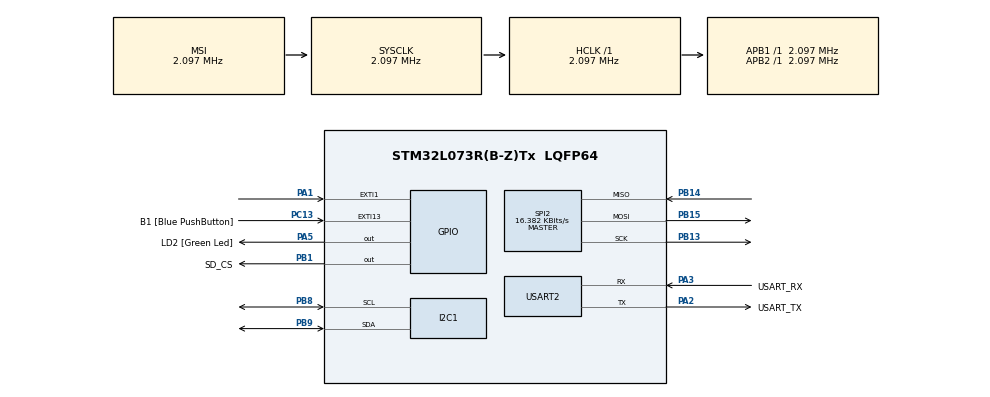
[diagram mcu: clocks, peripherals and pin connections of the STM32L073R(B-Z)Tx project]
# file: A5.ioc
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FREERTOS.Tasks01=defaultTask,0,128,StartDefaultTask,Default,NULL,Dynamic,NULL,NULL
FREERTOS.configTICK_RATE_HZ=1000
FREERTOS.configTOTAL_HEAP_SIZE=11000
I2C1.Timing=0x00000608
Mcu.Family=STM32L0
Mcu.Name=STM32L073R(B-Z)Tx
Mcu.Package=LQFP64
NVIC.EXTI0_1_IRQn=true\:3\:0\:false\:false\:true\:true\:true\:true\:true
PA1.GPIO_ModeDefaultEXTI=GPIO_MODE_IT_FALLING
PA1.GPIO_PuPd=GPIO_PULLUP
PA1.Signal=GPXTI1
PA13.GPIO_Label=TMS
PA13.Mode=Serial_Wire
PA13.Signal=SYS_SWDIO
PA14.GPIO_Label=TCK
PA14.Mode=Serial_Wire
PA14.Signal=SYS_SWCLK
PA2.GPIO_Label=USART_TX
PA2.Mode=Asynchronous
PA2.Signal=USART2_TX
PA3.GPIO_Label=USART_RX
PA3.Mode=Asynchronous
PA3.Signal=USART2_RX
PA5.GPIO_Label=LD2 [Green Led]
PA5.Signal=GPIO_Output
PB1.GPIO_Label=SD_CS
PB1.Signal=GPIO_Output
PB13.Mode=Full_Duplex_Master
PB13.Signal=SPI2_SCK
PB14.Mode=Full_Duplex_Master
PB14.Signal=SPI2_MISO
PB15.Mode=Full_Duplex_Master
PB15.Signal=SPI2_MOSI
PB8.Mode=I2C
PB8.Signal=I2C1_SCL
PB9.Mode=I2C
PB9.Signal=I2C1_SDA
PC13.GPIO_Label=B1 [Blue PushButton]
PC13.GPIO_ModeDefaultEXTI=GPIO_MODE_IT_FALLING
PC13.Signal=GPXTI13
PC14-OSC32_IN.Mode=LSE-External-Oscillator
PC14-OSC32_IN.Signal=RCC_OSC32_IN
PC15-OSC32_OUT.Mode=LSE-External-Oscillator
PC15-OSC32_OUT.Signal=RCC_OSC32_OUT
PH0-OSC_IN.GPIO_Label=MCO
PH0-OSC_IN.Mode=HSE-External-Clock-Source
PH0-OSC_IN.Signal=RCC_OSC_IN
ProjectManager.HeapSize=0x200
ProjectManager.StackSize=0x400
ProjectManager.TargetToolchain=STM32CubeIDE
RCC.AHBFreq_Value=2097000
RCC.APB1Freq_Value=2097000
RCC.APB1TimFreq_Value=2097000
RCC.APB2Freq_Value=2097000
RCC.APB2TimFreq_Value=2097000
RCC.HSE_VALUE=8000000
RCC.HSI16_VALUE=16000000
RCC.HSI48_VALUE=48000000
RCC.HSI_VALUE=16000000
RCC.MSI_VALUE=2097000
RCC.SYSCLKFreq_VALUE=2097000
RCC.VCOOutputFreq_Value=48000000
SPI2.BaudRatePrescaler=SPI_BAUDRATEPRESCALER_128
SPI2.CalculateBaudRate=16.382 KBits/s
SPI2.Direction=SPI_DIRECTION_2LINES
SPI2.Mode=SPI_MODE_MASTER
SPI2.VirtualType=VM_MASTER
USART2.VirtualMode-Asynchronous=VM_ASYNC
VP_FATFS_VS_Generic.Mode=User_defined
VP_FREERTOS_VS_CMSIS_V1.Mode=CMSIS_V1
board=NUCLEO-L073RZ

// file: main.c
/* USER CODE BEGIN Header */
/**
  ******************************************************************************
  * @file           : main.c
  * @brief          : Main program body
  ******************************************************************************
  * @attention
  *
  * Copyright (c) 2024 STMicroelectronics.
  * All rights reserved.
  *
  * This software is licensed under terms that can be found in the LICENSE file
  * in the root directory of this software component.
  * If no LICENSE file comes with this software, it is provided AS-IS.
  *
  ******************************************************************************
  */
/* USER CODE END Header */
#include "main.h"
#include "cmsis_os.h"
#include "fatfs.h"

/* USER CODE BEGIN Includes */
#include <stdio.h>
#include <string.h>
#include <stdarg.h> //for va_list var arg functions
#include <stdbool.h>
#include "semphr.h"
#include "filter.h"
#include "new_funcs.h"
#include "task.h"
#include "queue.h"
/* USER CODE END Includes */

/* USER CODE BEGIN PD */
const float rThreshold = 0.7;

const float kLowPassCutoff = 5.0;   // 5 hz
const float kHighPassCutoff = 0.5;  // 0.5 hz
const float kSamplingFrequency = 400.0;
const float kEdgeThreshold = -2000.0;

const unsigned long kFingerThreshold = 10000;
const unsigned int kFingerCooldownMs = 500;

const float decayRate = 0.02;
const float thrRate = 0.05;
const int minDiff = 50;
const uint32_t fingerThreshold = 10000;  // threshold for detecting a finger on the sensor

float maxValue = 0;
float minValue = 0;
float threshold = 0;
long lastHeartbeat = 0;
float lastValue = 0;
int fingerDetected = 0;  // variable to track whether the finger is detected

float last_diff = NAN;
bool crossed = false;
long crossed_time = 0;
/* variables */
LowPassFilter low_pass_filter_red;
LowPassFilter low_pass_filter_ir;
HighPassFilter high_pass_filter;
LowPassFilter low_pass_filter;
Differentiator differentiator;
MovingAverageFilter moving_avg_filter;
MovingAverageFilter moving_avg_bpm;
MovingAverageFilter moving_avg_spo2;
/* statistic Variables */
MinMaxAvgStatistic stat_red;
MinMaxAvgStatistic stat_ir;

/* finger Detection */
long finger_timestamp = 0;
bool finger_detected = false;

//some variables for FatFs
FATFS FatFs; 	//Fatfs handle
FIL fil; 		//File handle
FRESULT fres; //Result after operations

TaskHandle_t xTemperatureTaskHandle = NULL;

SemaphoreHandle_t xI2CSemaphore;
/* USER CODE END PD */

/* USER CODE BEGIN PM */
typedef struct {
    uint32_t redLED;
    uint32_t irLED;
} LEDOutput;

typedef struct {
    int bpm;
    float spo2;
} FilterOutput;

/* USER CODE END PM */

I2C_HandleTypeDef hi2c1;

SPI_HandleTypeDef hspi2;

UART_HandleTypeDef huart2;

osThreadId defaultTaskHandle;
/* USER CODE BEGIN PV */
// interrupt callback for PA1 external interrupt
void HAL_GPIO_EXTI_Callback(uint16_t GPIO_Pin) {
    BaseType_t xHigherPriorityTaskWoken = pdFALSE;
    if (GPIO_Pin == GPIO_PIN_1) {
//    	__HAL_GPIO_EXTI_CLEAR_FLAG(GPIO_PIN_1);
//    	myprintf("Interrupt has been triggered\r\n");
    	vTaskNotifyGiveFromISR(xTemperatureTaskHandle, &xHigherPriorityTaskWoken);
        portYIELD_FROM_ISR(xHigherPriorityTaskWoken);
    }
}

QueueHandle_t xQueueLEDOutput;
QueueHandle_t xQueueFilterOutput;
/* USER CODE END PV */

void SystemClock_Config(void);
static void MX_GPIO_Init(void);
static void MX_USART2_UART_Init(void);
static void MX_SPI2_Init(void);
static void MX_I2C1_Init(void);
void StartDefaultTask(void const * argument);

/* USER CODE BEGIN PFP */
void myprintf(const char *fmt, ...);
/* USER CODE END PFP */

/* USER CODE BEGIN 0 */
void myprintf(const char *fmt, ...) {
  static char buffer[256];
  va_list args;
  va_start(args, fmt);
  vsnprintf(buffer, sizeof(buffer), fmt, args);
  va_end(args);

  int len = strlen(buffer);
  HAL_UART_Transmit(&huart2, (uint8_t*)buffer, len, -1);

}

void vTaskLEDInput(void *pvParameters) {
    uint32_t redLED, irLED;

    for (;;)
    {
    	xSemaphoreTake(xI2CSemaphore, portMAX_DELAY);
        MAX30102_ReadRawData(&redLED, &irLED, &hi2c1, &huart2);
        xSemaphoreGive(xI2CSemaphore);

        LEDOutput sensorData;
        sensorData.redLED = redLED;
        sensorData.irLED = irLED;

//    	myprintf("Inside sensing task\r\n");
        xQueueSend(xQueueLEDOutput, &sensorData, portMAX_DELAY);
//    	myprintf("Exiting loop\r\n");
    }
}

void vTaskFilter(void *pvParameters) {
    LEDOutput sensorData;
    FilterOutput processedData;
//    long counter = 0;

    for(;;)
    {
        if(xQueueReceive(xQueueLEDOutput, &sensorData, portMAX_DELAY) == pdPASS)
        {
//        	myprintf("Received readings from sensing task\r\n");
            float current_value_red = (float)sensorData.redLED;
			float current_value_ir = (float)sensorData.irLED;

            if (current_value_red > kFingerThreshold) {
                if (xTaskGetTickCount() - finger_timestamp > pdMS_TO_TICKS(kFingerCooldownMs)) {
                    finger_detected = true;
                }
            } else {
                // Reset all values if the finger is removed
                if (finger_detected && (xTaskGetTickCount() - finger_timestamp > pdMS_TO_TICKS(1000))) {
                    Differentiator_Reset(&differentiator);
                    MovingAverageFilter_Reset(&moving_avg_bpm);
                    MovingAverageFilter_Reset(&moving_avg_spo2);
                    LowPassFilter_Reset(&low_pass_filter_red);
                    LowPassFilter_Reset(&low_pass_filter_ir);
                    HighPassFilter_Reset(&high_pass_filter);
                    MinMaxAvgStatistic_Reset(&stat_red);
                    MinMaxAvgStatistic_Reset(&stat_ir);

                    finger_detected = false;
                    finger_timestamp = xTaskGetTickCount();
                }
            }

            if (finger_detected) {
//            	if(counter % 100 == 0) myprintf("Finger has been detected\r\n");
//            	counter++;

                // Apply Filters to Red and IR signals
                current_value_red = LowPassFilter_Process(&low_pass_filter_red, current_value_red);
                current_value_ir = LowPassFilter_Process(&low_pass_filter_ir, current_value_ir);

                // Update statistics for both Red and IR signals
                MinMaxAvgStatistic_Process(&stat_red, current_value_red);
                MinMaxAvgStatistic_Process(&stat_ir, current_value_ir);

                // Apply High Pass Filter for heartbeat detection on the Red LED
                float current_value = HighPassFilter_Process(&high_pass_filter, current_value_red);
                float current_diff = Differentiator_Process(&differentiator, current_value);

                if (!isnan(current_diff) && !isnan(last_diff)) {
                    // Detect heartbeat via zero-crossing
                    if (last_diff > 0 && current_diff < 0) {
                        crossed = true;
                        crossed_time = xTaskGetTickCount();
                    }

                    if (crossed && current_diff < kEdgeThreshold) {
                        if (lastHeartbeat != 0 && crossed_time - lastHeartbeat > 300) {
                        	myprintf("Inside time threshold\r\n");

                            // Calculate heart rate (BPM)
                            int bpm = 60000 / (crossed_time - lastHeartbeat);

                            // Calculate R-values for SpO2 calculation
                            float rred = (MinMaxAvgStatistic_Maximum(&stat_red) - MinMaxAvgStatistic_Minimum(&stat_red)) / MinMaxAvgStatistic_Average(&stat_red);
                            float rir = (MinMaxAvgStatistic_Maximum(&stat_ir) - MinMaxAvgStatistic_Minimum(&stat_ir)) / MinMaxAvgStatistic_Average(&stat_ir);
                            float spo2 = calculate_SpO2(rred, rir);

                            myprintf("Bpm: %i, Spo2 : %.2f\r\n", bpm, spo2);
                            if (bpm > 5 && bpm < 250) {
                                int avg_bpm = MovingAverageFilter_Process(&moving_avg_bpm, bpm);
                                int avg_spo2 = MovingAverageFilter_Process(&moving_avg_spo2, spo2);

                                // Prepare processed data
                                processedData.bpm = avg_bpm;
                                processedData.spo2 = avg_spo2;

                                // Send processed data to vTaskWrite
                                xQueueSend(xQueueFilterOutput, &processedData, portMAX_DELAY);
                            }
                        }
                        crossed = false;
                        lastHeartbeat = crossed_time;
                    }
                }
                last_diff = current_diff;
            }
        }
    }
}

void vTaskWrite(void *pvParameters) {
    FilterOutput processedData;
	char uartBuf[100];  // buffer for  messages

    for(;;)
    {
		myprintf("Inside sd card writing task\r\n");
        if(xQueueReceive(xQueueFilterOutput, &processedData, portMAX_DELAY) == pdPASS)
        {
        	myprintf("Received processed data from queue\r\n");
            sprintf(uartBuf, "Heart Rate: %d bpm, SpO2: %.2f%%\r\n", processedData.bpm, (double)processedData.spo2);
            myprintf(uartBuf);

            FRESULT fres = f_open(&fil, "write.txt", FA_WRITE | FA_OPEN_APPEND);
            if(fres == FR_OK) {
                myprintf("I was able to open 'write.txt' for measurements\r\n");
            } else {
                myprintf("f_open error (%i)\r\n", fres);
            }

            UINT bytesWrote;
            fres = f_write(&fil, uartBuf, strlen(uartBuf), &bytesWrote);
            if(fres == FR_OK) {
                myprintf("Wrote %i bytes to 'write.txt'!\r\n", bytesWrote);
            } else {
                myprintf("f_write error (%i)\r\n");
            }

            f_close(&fil);
        }
    }
}

void vTaskTemperature(void *pvParameters) {
    char uartBuf[100];  // buffer for  messages

    for(;;)
    {
        ulTaskNotifyTake(pdTRUE, portMAX_DELAY);
        myprintf("Inside temperature task\r\n");

        uint8_t intStatus = 0;
        xSemaphoreTake(xI2CSemaphore, portMAX_DELAY);
        HAL_I2C_Mem_Read(&hi2c1, MAX30102_ADDRESS << 1, MAX30105_INTSTAT2, I2C_MEMADD_SIZE_8BIT, &intStatus, 1, HAL_MAX_DELAY);
        xSemaphoreGive(xI2CSemaphore);

        if (intStatus & MAX30105_INT_DIE_TEMP_RDY_ENABLE) {  // if temperature ready
        	xSemaphoreTake(xI2CSemaphore, portMAX_DELAY);
            float temperature = MAX30102_ReadTemperature(&hi2c1);  // read temperature
            xSemaphoreGive(xI2CSemaphore);
            sprintf(uartBuf, "Temperature: %.2f°C\r\n", temperature);

            myprintf(uartBuf);

            FRESULT fres = f_open(&fil, "write.txt", FA_WRITE | FA_OPEN_APPEND);
            if(fres == FR_OK) {
                myprintf("I was able to open 'write.txt' for measurements\r\n");
            } else {
                myprintf("f_open error (%i)\r\n", fres);
            }

            UINT bytesWrote;
            fres = f_write(&fil, uartBuf, strlen(uartBuf), &bytesWrote);
            if(fres == FR_OK) {
                myprintf("Wrote %i bytes to 'write.txt'!\r\n", bytesWrote);
            } else {
                myprintf("f_write error (%i)\r\n");
            }

            f_close(&fil);
        }

        // new temperature measurement
        xSemaphoreTake(xI2CSemaphore, portMAX_DELAY);
        MAX30102_StartTemperatureMeasurement(&hi2c1);
        xSemaphoreGive(xI2CSemaphore);
    }
}
/* USER CODE END 0 */

int main(void)
{

  /* MCU Configuration--------------------------------------------------------*/

  /* Reset of all peripherals, Initializes the Flash interface and the Systick. */
  HAL_Init();

  /* Configure the system clock */
  SystemClock_Config();

  /* Initialize all configured peripherals */
  MX_GPIO_Init();
  MX_USART2_UART_Init();
  MX_SPI2_Init();
  MX_FATFS_Init();
  MX_I2C1_Init();
  /* USER CODE BEGIN 2 */
    // Initialize the MAX30102 sensor
	MAX30102_Init(&hi2c1);
    // Initialize Filters
	initialize_filters();

	// enable the temperature interrupt on MAX30102
	MAX30102_EnableTemperatureInterrupt(&hi2c1,&huart2);

    // start the first temperature measurement
    MAX30102_StartTemperatureMeasurement(&hi2c1);

  	// SD Card funtionality
  myprintf("\r\n~ SD card demo by kiwih ~\r\n\r\n");

  HAL_Delay(1000); //a short delay is important to let the SD card settle

  myprintf("HAL Delay print statement\r\n");

  //Open the file system
  fres = f_mount(&FatFs, "", 1); //1=mount now
  if (fres != FR_OK) {
	myprintf("f_mount error (%i)\r\n", fres);
	while(1);
  }

  //Let's get some statistics from the SD card
  DWORD free_clusters, free_sectors, total_sectors;

  FATFS* getFreeFs;

  fres = f_getfree("", &free_clusters, &getFreeFs);
  if (fres != FR_OK) {
	myprintf("f_getfree error (%i)\r\n", fres);
	while(1);
  }

  //Formula comes from ChaN's documentation
  total_sectors = (getFreeFs->n_fatent - 2) * getFreeFs->csize;
  free_sectors = free_clusters * getFreeFs->csize;

  myprintf("SD card stats:\r\n%10lu KiB total drive space.\r\n%10lu KiB available.\r\n", total_sectors / 2, free_sectors / 2);

  //Now let's try to open file "test.txt"
  fres = f_open(&fil, "test.txt", FA_READ);
  if (fres != FR_OK) {
	myprintf("f_open error (%i)\r\n");
	while(1);
  }
  myprintf("I was able to open 'test.txt' for reading!\r\n");

  //Read 30 bytes from "test.txt" on the SD card
  BYTE readBuf[30];

  //We can either use f_read OR f_gets to get data out of files
  //f_gets is a wrapper on f_read that does some string formatting for us
  TCHAR* rres = f_gets((TCHAR*)readBuf, 30, &fil);
  if(rres != 0) {
	myprintf("Read string from 'test.txt' contents: %s\r\n", readBuf);
  } else {
	myprintf("f_gets error (%i)\r\n", fres);
  }

  //Be a tidy kiwi - don't forget to close your file!
  f_close(&fil);

  //Now let's try and write a file "write.txt"
  fres = f_open(&fil, "write.txt", FA_WRITE | FA_OPEN_ALWAYS | FA_CREATE_ALWAYS);
  if(fres == FR_OK) {
	myprintf("I was able to open 'write.txt' for writing\r\n");
  } else {
	myprintf("f_open error (%i)\r\n", fres);
  }

  //Copy in a string
  strncpy((char*)readBuf, "a new file is made!\r\n", strlen("a new file is made!\r\n"));
  UINT bytesWrote;
  fres = f_write(&fil, readBuf, 19, &bytesWrote);
  if(fres == FR_OK) {
	myprintf("Wrote %i bytes to 'write.txt'!\r\n", bytesWrote);
  } else {
	myprintf("f_write error (%i)\r\n");
  }

  //Be a tidy kiwi - don't forget to close your file!
  f_close(&fil);

// //We're done, so de-mount the drive
// f_mount(NULL, "", 0);

	// Initialize semaphore
	xI2CSemaphore = xSemaphoreCreateMutex();
	if(xI2CSemaphore == NULL) {
		myprintf("Semaphore was not created\r\n");
		while(1);
	}

 	 // Create the queues
    xQueueLEDOutput = xQueueCreate(100, sizeof(LEDOutput));
    xQueueFilterOutput = xQueueCreate(100, sizeof(FilterOutput));

    BaseType_t created;

    // Create the tasks
    created = xTaskCreate(vTaskLEDInput, "vTaskLEDInput", 128, NULL, 2, NULL);
    if(created != pdPASS) {
		myprintf("Input task was not created\r\n");
		while(1);
	}
    created = xTaskCreate(vTaskFilter, "vTaskFilter", 256, NULL, 2, NULL);
    if(created != pdPASS) {
		myprintf("Filtering task was not created\r\n");
		while(1);
	}
    created = xTaskCreate(vTaskWrite, "vTaskWrite", 256, NULL, 2, NULL);
    if(created != pdPASS) {
    	myprintf("Writing task was not created\r\n");
    	while(1);
    }
    created = xTaskCreate(vTaskTemperature, "vTaskTemperature", 256, NULL, 2, &xTemperatureTaskHandle);
    if(created != pdPASS) {
    	myprintf("Temperature task was not created\r\n");
    	while(1);
    }
  /* USER CODE END 2 */

  /* Create the thread(s) */
  /* definition and creation of defaultTask */
  osThreadDef(defaultTask, StartDefaultTask, osPriorityNormal, 0, 128);
  defaultTaskHandle = osThreadCreate(osThread(defaultTask), NULL);

  /* Start scheduler */
  osKernelStart();

  /* We should never get here as control is now taken by the scheduler */

  /* Infinite loop */
  while (1)
  {

  }
}

void SystemClock_Config(void)
{
  RCC_OscInitTypeDef RCC_OscInitStruct = {0};
  RCC_ClkInitTypeDef RCC_ClkInitStruct = {0};
  RCC_PeriphCLKInitTypeDef PeriphClkInit = {0};

  /** Configure the main internal regulator output voltage
  */
  __HAL_PWR_VOLTAGESCALING_CONFIG(PWR_REGULATOR_VOLTAGE_SCALE1);

  /** Initializes the RCC Oscillators according to the specified parameters
  * in the RCC_OscInitTypeDef structure.
  */
  RCC_OscInitStruct.OscillatorType = RCC_OSCILLATORTYPE_MSI;
  RCC_OscInitStruct.MSIState = RCC_MSI_ON;
  RCC_OscInitStruct.MSICalibrationValue = 0;
  RCC_OscInitStruct.MSIClockRange = RCC_MSIRANGE_5;
  RCC_OscInitStruct.PLL.PLLState = RCC_PLL_NONE;
  if (HAL_RCC_OscConfig(&RCC_OscInitStruct) != HAL_OK)
  {
    Error_Handler();
  }

  /** Initializes the CPU, AHB and APB buses clocks
  */
  RCC_ClkInitStruct.ClockType = RCC_CLOCKTYPE_HCLK|RCC_CLOCKTYPE_SYSCLK
                              |RCC_CLOCKTYPE_PCLK1|RCC_CLOCKTYPE_PCLK2;
  RCC_ClkInitStruct.SYSCLKSource = RCC_SYSCLKSOURCE_MSI;
  RCC_ClkInitStruct.AHBCLKDivider = RCC_SYSCLK_DIV1;
  RCC_ClkInitStruct.APB1CLKDivider = RCC_HCLK_DIV1;
  RCC_ClkInitStruct.APB2CLKDivider = RCC_HCLK_DIV1;

  if (HAL_RCC_ClockConfig(&RCC_ClkInitStruct, FLASH_LATENCY_0) != HAL_OK)
  {
    Error_Handler();
  }
  PeriphClkInit.PeriphClockSelection = RCC_PERIPHCLK_USART2|RCC_PERIPHCLK_I2C1;
  PeriphClkInit.Usart2ClockSelection = RCC_USART2CLKSOURCE_PCLK1;
  PeriphClkInit.I2c1ClockSelection = RCC_I2C1CLKSOURCE_PCLK1;
  if (HAL_RCCEx_PeriphCLKConfig(&PeriphClkInit) != HAL_OK)
  {
    Error_Handler();
  }
}

static void MX_I2C1_Init(void)
{

  hi2c1.Instance = I2C1;
  hi2c1.Init.Timing = 0x00000608;
  hi2c1.Init.OwnAddress1 = 0;
  hi2c1.Init.AddressingMode = I2C_ADDRESSINGMODE_7BIT;
  hi2c1.Init.DualAddressMode = I2C_DUALADDRESS_DISABLE;
  hi2c1.Init.OwnAddress2 = 0;
  hi2c1.Init.OwnAddress2Masks = I2C_OA2_NOMASK;
  hi2c1.Init.GeneralCallMode = I2C_GENERALCALL_DISABLE;
  hi2c1.Init.NoStretchMode = I2C_NOSTRETCH_DISABLE;
  if (HAL_I2C_Init(&hi2c1) != HAL_OK)
  {
    Error_Handler();
  }

  /** Configure Analogue filter
  */
  if (HAL_I2CEx_ConfigAnalogFilter(&hi2c1, I2C_ANALOGFILTER_ENABLE) != HAL_OK)
  {
    Error_Handler();
  }

  /** Configure Digital filter
  */
  if (HAL_I2CEx_ConfigDigitalFilter(&hi2c1, 0) != HAL_OK)
  {
    Error_Handler();
  }

}

static void MX_SPI2_Init(void)
{

  /* SPI2 parameter configuration*/
  hspi2.Instance = SPI2;
  hspi2.Init.Mode = SPI_MODE_MASTER;
  hspi2.Init.Direction = SPI_DIRECTION_2LINES;
  hspi2.Init.DataSize = SPI_DATASIZE_8BIT;
  hspi2.Init.CLKPolarity = SPI_POLARITY_LOW;
  hspi2.Init.CLKPhase = SPI_PHASE_1EDGE;
  hspi2.Init.NSS = SPI_NSS_SOFT;
  hspi2.Init.BaudRatePrescaler = SPI_BAUDRATEPRESCALER_128;
  hspi2.Init.FirstBit = SPI_FIRSTBIT_MSB;
  hspi2.Init.TIMode = SPI_TIMODE_DISABLE;
  hspi2.Init.CRCCalculation = SPI_CRCCALCULATION_DISABLE;
  hspi2.Init.CRCPolynomial = 7;
  if (HAL_SPI_Init(&hspi2) != HAL_OK)
  {
    Error_Handler();
  }

}

static void MX_USART2_UART_Init(void)
{

  huart2.Instance = USART2;
  huart2.Init.BaudRate = 115200;
  huart2.Init.WordLength = UART_WORDLENGTH_8B;
  huart2.Init.StopBits = UART_STOPBITS_1;
  huart2.Init.Parity = UART_PARITY_NONE;
  huart2.Init.Mode = UART_MODE_TX_RX;
  huart2.Init.HwFlowCtl = UART_HWCONTROL_NONE;
  huart2.Init.OverSampling = UART_OVERSAMPLING_16;
  huart2.Init.OneBitSampling = UART_ONE_BIT_SAMPLE_DISABLE;
  huart2.AdvancedInit.AdvFeatureInit = UART_ADVFEATURE_NO_INIT;
  if (HAL_UART_Init(&huart2) != HAL_OK)
  {
    Error_Handler();
  }

}

static void MX_GPIO_Init(void)
{
  GPIO_InitTypeDef GPIO_InitStruct = {0};

  /* GPIO Ports Clock Enable */
  __HAL_RCC_GPIOC_CLK_ENABLE();
  __HAL_RCC_GPIOH_CLK_ENABLE();
  __HAL_RCC_GPIOA_CLK_ENABLE();
  __HAL_RCC_GPIOB_CLK_ENABLE();

  /*Configure GPIO pin Output Level */
  HAL_GPIO_WritePin(LD2_GPIO_Port, LD2_Pin, GPIO_PIN_RESET);

  /*Configure GPIO pin Output Level */
  HAL_GPIO_WritePin(SD_CS_GPIO_Port, SD_CS_Pin, GPIO_PIN_RESET);

  /*Configure GPIO pin : B1_Pin */
  GPIO_InitStruct.Pin = B1_Pin;
  GPIO_InitStruct.Mode = GPIO_MODE_IT_FALLING;
  GPIO_InitStruct.Pull = GPIO_NOPULL;
  HAL_GPIO_Init(B1_GPIO_Port, &GPIO_InitStruct);

  /*Configure GPIO pin : PA1 */
  GPIO_InitStruct.Pin = GPIO_PIN_1;
  GPIO_InitStruct.Mode = GPIO_MODE_IT_FALLING;
  GPIO_InitStruct.Pull = GPIO_PULLUP;
  HAL_GPIO_Init(GPIOA, &GPIO_InitStruct);

  /*Configure GPIO pin : LD2_Pin */
  GPIO_InitStruct.Pin = LD2_Pin;
  GPIO_InitStruct.Mode = GPIO_MODE_OUTPUT_PP;
  GPIO_InitStruct.Pull = GPIO_NOPULL;
  GPIO_InitStruct.Speed = GPIO_SPEED_FREQ_LOW;
  HAL_GPIO_Init(LD2_GPIO_Port, &GPIO_InitStruct);

  /*Configure GPIO pin : SD_CS_Pin */
  GPIO_InitStruct.Pin = SD_CS_Pin;
  GPIO_InitStruct.Mode = GPIO_MODE_OUTPUT_PP;
  GPIO_InitStruct.Pull = GPIO_NOPULL;
  GPIO_InitStruct.Speed = GPIO_SPEED_FREQ_LOW;
  HAL_GPIO_Init(SD_CS_GPIO_Port, &GPIO_InitStruct);

  /* EXTI interrupt init*/
  HAL_NVIC_SetPriority(EXTI0_1_IRQn, 3, 0);
  HAL_NVIC_EnableIRQ(EXTI0_1_IRQn);

}

void StartDefaultTask(void const * argument)
{
  for(;;)
  {
    osDelay(1);
  }
}

void Error_Handler(void)
{
  __disable_irq();
  while (1)
  {
  }
}
